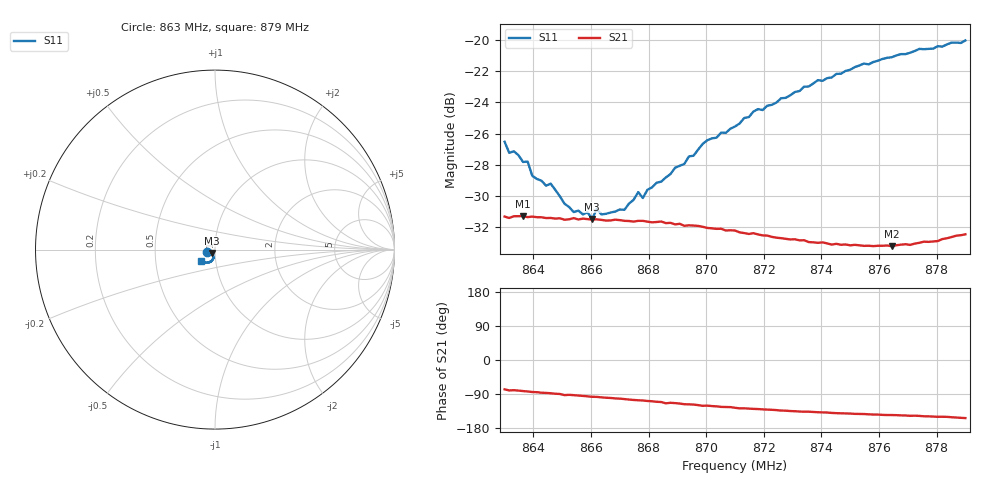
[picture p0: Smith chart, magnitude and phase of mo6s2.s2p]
# HZ S RI R 50
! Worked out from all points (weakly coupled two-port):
!   101 points, 863 MHz to 879 MHz, reference 50 ohm
!   highest |S21| = -31.31 dB at 863.64 MHz (marker M1); lowest = -33.2 dB at 876.44 MHz (marker M2)
!   lowest |S11| = -31.5 dB at 866.04 MHz (marker M3), VSWR 1.05, Z = 48.2 - j1.86 ohm
!   |S11| at or under -10 dB: start of sweep to end of sweep
!   S12 and S22 are empty: the file has one direction only
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8.63e8  -0.045 -0.014  0.00588 -0.0265  0 0  0 0
8.6316e8  -0.0413 -0.0134  0.00449 -0.0264  0 0  0 0
8.6332e8  -0.0415 -0.0145  0.00487 -0.0267  0 0  0 0
8.6364e8  -0.0382 -0.0138  0.00379 -0.0269  0 0  0 0
8.638e8  -0.0382 -0.014  0.00327 -0.0268  0 0  0 0
8.6396e8  -0.0339 -0.0138  0.00261 -0.027  0 0  0 0
8.646e8  -0.0314 -0.0145  0.00106 -0.0268  0 0  0 0
8.6508e8  -0.0252 -0.0159  -0.00123 -0.0264  0 0  0 0
8.6572e8  -0.0197 -0.0192  -0.00224 -0.0266  0 0  0 0
8.6604e8  -0.0183 -0.0193  -0.00328 -0.0263  0 0  0 0
8.662e8  -0.0192 -0.0213  -0.00339 -0.0263  0 0  0 0
8.6636e8  -0.0177 -0.0211  -0.00397 -0.0261  0 0  0 0
8.6716e8  -0.0123 -0.0257  -0.00595 -0.0256  0 0  0 0
8.6764e8  -0.0132 -0.0297  -0.00736 -0.0252  0 0  0 0
8.678e8  -0.0106 -0.0292  -0.00762 -0.0251  0 0  0 0
8.6844e8  -0.00931 -0.0339  -0.00934 -0.0244  0 0  0 0
8.7004e8  -0.00881 -0.0469  -0.0126 -0.0215  0 0  0 0
8.71e8  -0.0115 -0.0515  -0.0144 -0.0198  0 0  0 0
8.7164e8  -0.014 -0.0573  -0.0151 -0.0186  0 0  0 0
8.7372e8  -0.026 -0.0678  -0.0164 -0.0152  0 0  0 0
8.7644e8  -0.0505 -0.0722  -0.0179 -0.0124  0 0  0 0
8.79e8  -0.0769 -0.0636  -0.0212 -0.0107  0 0  0 0
